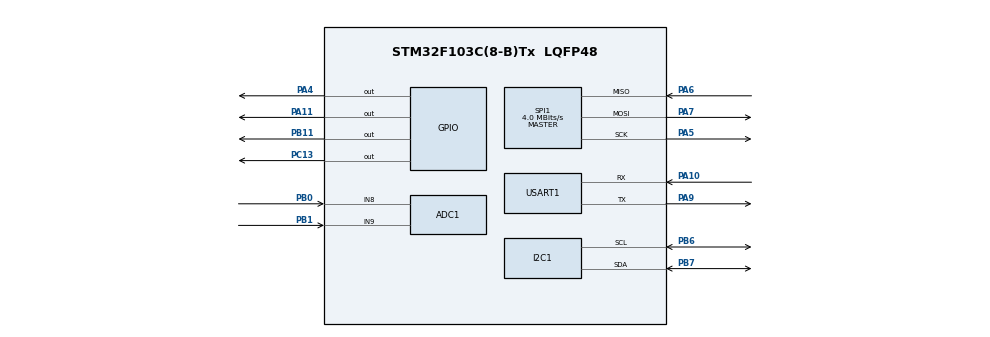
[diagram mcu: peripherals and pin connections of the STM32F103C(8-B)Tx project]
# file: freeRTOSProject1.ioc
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ADC1.Channel-2\#ChannelRegularConversion=ADC_CHANNEL_8
ADC1.Channel-3\#ChannelRegularConversion=ADC_CHANNEL_9
ADC1.ContinuousConvMode=DISABLE
ADC1.EnableInjectedConversion=DISABLE
ADC1.ExternalTrigConv=ADC_EXTERNALTRIGCONV_T3_TRGO
ADC1.NbrOfConversion=2
ADC1.NbrOfConversionFlag=1
ADC1.Rank-2\#ChannelRegularConversion=1
ADC1.Rank-3\#ChannelRegularConversion=2
ADC1.SamplingTime-2\#ChannelRegularConversion=ADC_SAMPLETIME_1CYCLE_5
ADC1.SamplingTime-3\#ChannelRegularConversion=ADC_SAMPLETIME_1CYCLE_5
ADC1.master=1
Dma.ADC1.0.Direction=DMA_PERIPH_TO_MEMORY
Dma.ADC1.0.Instance=DMA1_Channel1
Dma.ADC1.0.MemDataAlignment=DMA_MDATAALIGN_HALFWORD
Dma.ADC1.0.MemInc=DMA_MINC_ENABLE
Dma.ADC1.0.Mode=DMA_CIRCULAR
Dma.ADC1.0.PeriphDataAlignment=DMA_PDATAALIGN_HALFWORD
Dma.ADC1.0.PeriphInc=DMA_PINC_DISABLE
Dma.ADC1.0.Priority=DMA_PRIORITY_LOW
Dma.Request0=ADC1
I2C1.I2C_Mode=I2C_Fast
Mcu.Family=STM32F1
Mcu.Name=STM32F103C(8-B)Tx
Mcu.Package=LQFP48
NVIC.DMA1_Channel1_IRQn=true\:0\:0\:false\:false\:true\:false\:true\:true
NVIC.PriorityGroup=NVIC_PRIORITYGROUP_4
NVIC.TIM1_UP_IRQn=true\:15\:0\:false\:false\:true\:false\:true\:true
NVIC.TIM2_IRQn=true\:6\:0\:true\:false\:true\:true\:true\:true
NVIC.TimeBase=TIM1_UP_IRQn
NVIC.TimeBaseIP=TIM1
NVIC.USART1_IRQn=true\:6\:0\:true\:false\:true\:true\:true\:true
PA10.Mode=Asynchronous
PA10.Signal=USART1_RX
PA11.PinState=GPIO_PIN_RESET
PA11.Signal=GPIO_Output
PA13.Mode=Serial_Wire
PA13.Signal=SYS_JTMS-SWDIO
PA14.Mode=Serial_Wire
PA14.Signal=SYS_JTCK-SWCLK
PA4.PinState=GPIO_PIN_SET
PA4.Signal=GPIO_Output
PA5.Mode=Full_Duplex_Master
PA5.Signal=SPI1_SCK
PA6.Mode=Full_Duplex_Master
PA6.Signal=SPI1_MISO
PA7.Mode=Full_Duplex_Master
PA7.Signal=SPI1_MOSI
PA9.Mode=Asynchronous
PA9.Signal=USART1_TX
PB0.Signal=ADCx_IN8
PB1.Signal=ADCx_IN9
PB11.GPIO_ModeDefaultOutputPP=GPIO_MODE_OUTPUT_PP
PB11.PinState=GPIO_PIN_SET
PB11.Signal=GPIO_Output
PB6.Mode=I2C
PB6.Signal=I2C1_SCL
PB7.Mode=I2C
PB7.Signal=I2C1_SDA
PC13-TAMPER-RTC.GPIO_ModeDefaultOutputPP=GPIO_MODE_OUTPUT_OD
PC13-TAMPER-RTC.GPIO_PuPd=GPIO_NOPULL
PC13-TAMPER-RTC.PinState=GPIO_PIN_SET
PC13-TAMPER-RTC.Signal=GPIO_Output
ProjectManager.HeapSize=0x200
ProjectManager.StackSize=0x400
ProjectManager.TargetToolchain=MDK-ARM V5.32
RCC.APB1Freq_Value=8000000
RCC.APB2Freq_Value=8000000
SH.ADCx_IN8.0=ADC1_IN8,IN8
SH.ADCx_IN9.0=ADC1_IN9,IN9
SPI1.CalculateBaudRate=4.0 MBits/s
SPI1.Direction=SPI_DIRECTION_2LINES
SPI1.Mode=SPI_MODE_MASTER
SPI1.VirtualType=VM_MASTER
TIM2.Period=1749
TIM2.Prescaler=7
TIM2.TIM_MasterOutputTrigger=TIM_TRGO_RESET
TIM3.Period=9999
TIM3.Prescaler=7
TIM3.TIM_MasterOutputTrigger=TIM_TRGO_UPDATE
USART1.VirtualMode=VM_ASYNC
VP_SYS_VS_tim1.Mode=TIM1
VP_TIM2_VS_ClockSourceINT.Mode=Internal
VP_TIM3_VS_ClockSourceINT.Mode=Internal
board=custom

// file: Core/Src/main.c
/* USER CODE BEGIN Header */
/**
  ******************************************************************************
  * @file           : main.c
  * @brief          : Main program body
  ******************************************************************************
  * @attention
  *
  * Copyright (c) 2026 STMicroelectronics.
  * All rights reserved.
  *
  * This software is licensed under terms that can be found in the LICENSE file
  * in the root directory of this software component.
  * If no LICENSE file comes with this software, it is provided AS-IS.
  *
  ******************************************************************************
  */
/* USER CODE END Header */
#include "main.h"
#include "adc.h"
#include "dma.h"
#include "i2c.h"
#include "spi.h"
#include "tim.h"
#include "usart.h"
#include "gpio.h"

/* USER CODE BEGIN Includes */

#include "freeRTOS.h"
#include "task.h"
#include "AppResources.h"
#include "displayTask.h"
#include "OLED.h"
#include "AcquisitionTask.h"
#include "SensorData.h"
#include "SHT30.h"
#include "AnalogInput.h"
#include "DeviceConfig.h"
#include "TempAlarm.h"
#include "DataLogger.h"
#include "StorageTask.h"
#include "ModbusTask.h"

/* USER CODE END Includes */

void SystemClock_Config(void);

int main(void)
{

  /* MCU Configuration--------------------------------------------------------*/

  /* Reset of all peripherals, Initializes the Flash interface and the Systick. */
  HAL_Init();

  /* Configure the system clock */
  SystemClock_Config();

  /* Initialize all configured peripherals */
  MX_GPIO_Init();
  MX_DMA_Init();
  MX_I2C1_Init();
  MX_TIM3_Init();
  MX_ADC1_Init();
  MX_SPI1_Init();
  MX_TIM2_Init();
  MX_USART1_UART_Init();
  /* USER CODE BEGIN 2 */

  OLED_Init();

  if(DeviceConfig_Init()==0U)
  {
	  Error_Handler();
  }

  TempAlarm_Init();

  if(AnalogInput_Start()!=HAL_OK)
  {
	  Error_Handler();
  }

  if(SensorData_Init()==0U)
  {
	  Error_Handler();
  }

  g_i2cMutex=xSemaphoreCreateMutex();//创建I2C互斥锁
  if(g_i2cMutex==NULL)
  {
	  Error_Handler();
  }

  g_storageQueue=xQueueCreate(4U,sizeof(StorageRequest_t));
  if(g_storageQueue==NULL)
  {
	  Error_Handler();
  }

  g_storageEvents=xEventGroupCreate();
  if(g_storageEvents==NULL)
  {
	  Error_Handler();
  }

  if(Storage_HistoryInit()==0U)
  {
	  Error_Handler();
  }

  if(xTaskCreate(DisplayTask,"Display",256,NULL,1,NULL)!=pdPASS)
  {
	  Error_Handler();
  }

  if(xTaskCreate(AcquisitionTask,"Acquisition",256,NULL,1,NULL)!=pdPASS)
  {
	  Error_Handler();
  }

  if(xTaskCreate(StorageTask,"Storage",256,NULL,1,NULL)!=pdPASS)
  {
	  Error_Handler();
  }

  if(xTaskCreate(ModbusTask,"Modbus",384,NULL,2,NULL)!=pdPASS)
  {
	  Error_Handler();
  }

  vTaskStartScheduler();

  /* USER CODE END 2 */

  /* Infinite loop */
  while (1)
  {

  }
}

void SystemClock_Config(void)
{
  RCC_OscInitTypeDef RCC_OscInitStruct = {0};
  RCC_ClkInitTypeDef RCC_ClkInitStruct = {0};
  RCC_PeriphCLKInitTypeDef PeriphClkInit = {0};

  /** Initializes the RCC Oscillators according to the specified parameters
  * in the RCC_OscInitTypeDef structure.
  */
  RCC_OscInitStruct.OscillatorType = RCC_OSCILLATORTYPE_HSI;
  RCC_OscInitStruct.HSIState = RCC_HSI_ON;
  RCC_OscInitStruct.HSICalibrationValue = RCC_HSICALIBRATION_DEFAULT;
  RCC_OscInitStruct.PLL.PLLState = RCC_PLL_NONE;
  if (HAL_RCC_OscConfig(&RCC_OscInitStruct) != HAL_OK)
  {
    Error_Handler();
  }

  /** Initializes the CPU, AHB and APB buses clocks
  */
  RCC_ClkInitStruct.ClockType = RCC_CLOCKTYPE_HCLK|RCC_CLOCKTYPE_SYSCLK
                              |RCC_CLOCKTYPE_PCLK1|RCC_CLOCKTYPE_PCLK2;
  RCC_ClkInitStruct.SYSCLKSource = RCC_SYSCLKSOURCE_HSI;
  RCC_ClkInitStruct.AHBCLKDivider = RCC_SYSCLK_DIV1;
  RCC_ClkInitStruct.APB1CLKDivider = RCC_HCLK_DIV1;
  RCC_ClkInitStruct.APB2CLKDivider = RCC_HCLK_DIV1;

  if (HAL_RCC_ClockConfig(&RCC_ClkInitStruct, FLASH_LATENCY_0) != HAL_OK)
  {
    Error_Handler();
  }
  PeriphClkInit.PeriphClockSelection = RCC_PERIPHCLK_ADC;
  PeriphClkInit.AdcClockSelection = RCC_ADCPCLK2_DIV2;
  if (HAL_RCCEx_PeriphCLKConfig(&PeriphClkInit) != HAL_OK)
  {
    Error_Handler();
  }
}

void HAL_TIM_PeriodElapsedCallback(TIM_HandleTypeDef *htim)
{
  if (htim->Instance == TIM1) {
    HAL_IncTick();
  }
  /* USER CODE BEGIN Callback 1 */
  if(htim->Instance==TIM2)
  {
	  Modbus_GapElapsedFromISR();
  }

  /* USER CODE END Callback 1 */
}

void Error_Handler(void)
{
  __disable_irq();
  while (1)
  {
  }
}
